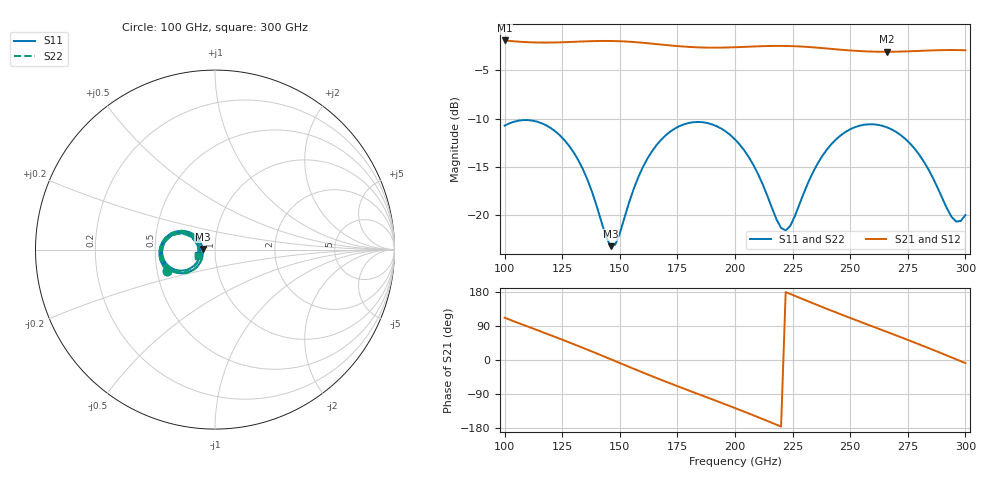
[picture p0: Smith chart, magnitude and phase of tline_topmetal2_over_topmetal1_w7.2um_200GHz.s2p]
#  GHZ S DB R 50
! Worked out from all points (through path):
!   101 points, 100 GHz to 300 GHz, reference 50 ohm
!   highest |S21| = -1.91 dB at 100 GHz (marker M1); lowest = -3.1 dB at 266 GHz (marker M2)
!   group delay of S21, straight-line fit = 6.67 ps
!   lowest |S11| = -23.2 dB at 146 GHz (marker M3), VSWR 1.15, Z = 43.6 + j0.245 ohm
!   |S11| at or under -10 dB: start of sweep to end of sweep
!   |S22| runs from -23.3 to -10.2 dB; largest |S21 - S12| = 9e-14
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100  -10.74 -156.3  -1.91 111.5  -1.91 111.5  -10.74 -156.3
116  -10.48 173.4  -2.13 74.6  -2.13 74.6  -10.48 173.4
126  -12.25 156.1  -2.09 51.3  -2.09 51.3  -12.25 156.1
134  -15.27 146.0  -2.01 32.0  -2.01 32.0  -15.27 146.0
146  -23.23 177.7  -1.96 2.1  -1.96 2.1  -23.31 177.7
148  -23.08 -165.0  -1.97 -2.9  -1.97 -2.9  -23.15 -164.8
156  -17.32 -136.5  -2.07 -23.0  -2.07 -23.0  -17.34 -136.2
168  -12.19 -148.2  -2.34 -52.4  -2.34 -52.4  -12.19 -147.9
176  -10.78 -161.5  -2.51 -71.3  -2.51 -71.3  -10.78 -161.3
184  -10.36 -175.4  -2.62 -89.8  -2.62 -89.8  -10.36 -175.3
200  -12.17 158.5  -2.61 -126.9  -2.61 -126.9  -12.18 158.5
212  -16.81 149.2  -2.50 -155.8  -2.50 -155.8  -16.87 149.0
218  -20.44 162.0  -2.47 -170.7  -2.47 -170.7  -20.59 161.9
222  -21.62 -174.8  -2.48 179.3  -2.48 179.3  -21.81 -174.3
234  -15.50 -142.7  -2.62 149.4  -2.62 149.4  -15.54 -141.6
250  -11.12 -161.9  -2.94 111.0  -2.94 111.0  -11.12 -161.1
266  -10.92 172.3  -3.08 74.0  -3.08 74.0  -10.91 173.1
268  -11.13 169.2  -3.08 69.4  -3.08 69.4  -11.12 170.0
278  -13.14 155.7  -3.01 45.9  -3.01 45.9  -13.12 156.6
286  -16.21 151.5  -2.94 26.6  -2.94 26.6  -16.18 152.4
294  -20.20 168.7  -2.90 6.8  -2.90 6.8  -20.12 169.5
300  -20.02 -161.2  -2.92 -8.1  -2.92 -8.1  -19.94 -160.7
